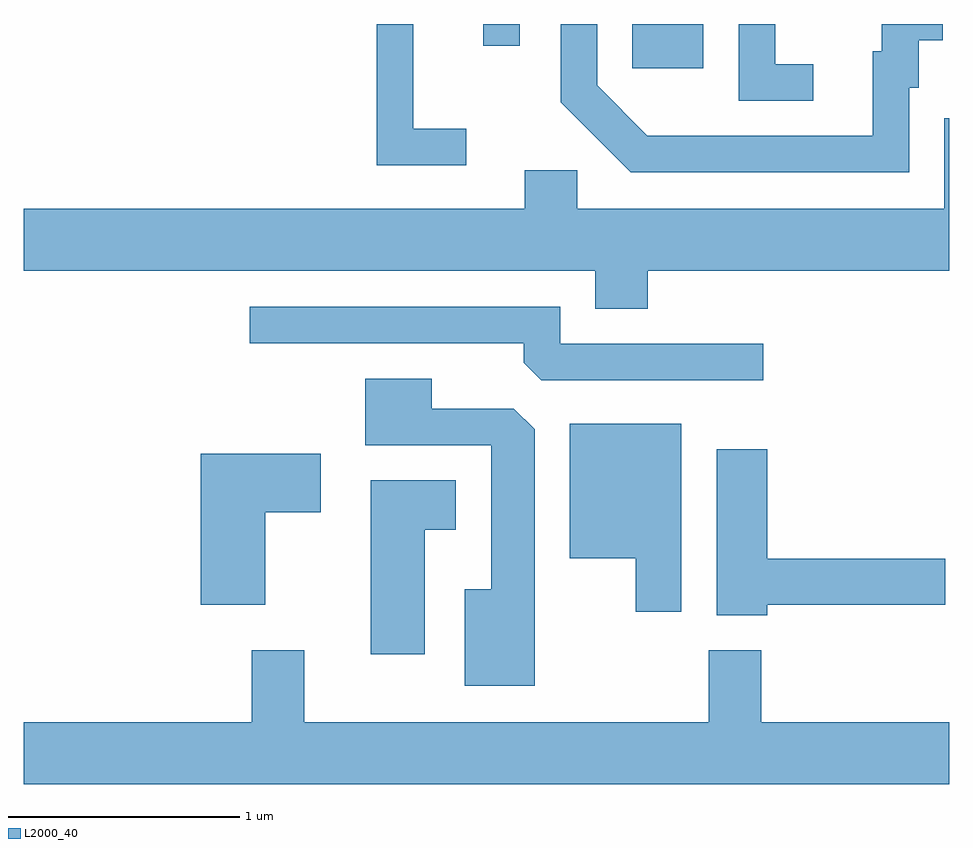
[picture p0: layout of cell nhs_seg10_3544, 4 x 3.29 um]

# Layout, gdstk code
import gdstk
lib = gdstk.Library(unit=1e-6, precision=1e-09)
def R(c, l, rs):  # rectangles x0, y0, x1, y1
    for r in rs: c.add(gdstk.rectangle(r[:2], r[2:], *l))
def P(c, l, *ps):  # polygons
    for p in ps: c.add(gdstk.Polygon(p, *l))
L2000_40 = (2000, 40)

nhs_seg10_3544 = lib.new_cell('nhs_seg10_3544')
R(nhs_seg10_3544, L2000_40, [(292.241,2130.331,292.549,2130.522), (291.596,2130.428,291.754,2130.522)])
P(nhs_seg10_3544, L2000_40, [(291.523,2130.069),(291.294,2130.069),(291.294,2130.522),(291.136,2130.522),(291.136,2129.911),(291.523,2129.911)],
  [(293.023,2130.349),(292.859,2130.349),(292.859,2130.522),(292.701,2130.522),(292.701,2130.191),(293.023,2130.191)],
  [(293.439,2130.246),(293.479,2130.246),(293.479,2130.451),(293.584,2130.451),(293.584,2130.522),(293.321,2130.522),(293.321,2130.404),(293.281,2130.404),(293.281,2130.039),(292.307,2130.039),(292.089,2130.257),(292.089,2130.522),(291.931,2130.522),(291.931,2130.184),(292.234,2129.881),(293.439,2129.881)],
  [(292.081,2129.291),(292.309,2129.291),(292.309,2129.456),(293.611,2129.456),(293.611,2130.114),(293.591,2130.114),(293.591,2129.724),(292.004,2129.724),(292.004,2129.889),(291.776,2129.889),(291.776,2129.724),(289.611,2129.724),(289.611,2129.456),(292.081,2129.456)],
  [(292.808,2129.139),(291.929,2129.139),(291.929,2129.299),(290.588,2129.299),(290.588,2129.141),(291.771,2129.141),(291.771,2129.057),(291.847,2128.981),(292.808,2128.981)],
  [(291.819,2128.769),(291.729,2128.859),(291.374,2128.859),(291.374,2128.989),(291.086,2128.989),(291.086,2128.701),(291.631,2128.701),(291.631,2128.079),(291.516,2128.079),(291.516,2127.661),(291.819,2127.661)],
  [(292.454,2128.794),(291.971,2128.794),(291.971,2128.211),(292.256,2128.211),(292.256,2127.981),(292.454,2127.981)],
  [(292.824,2128.011),(293.594,2128.011),(293.594,2128.209),(292.824,2128.209),(292.824,2128.684),(292.606,2128.684),(292.606,2127.966),(292.824,2127.966)],
  [(290.654,2128.411),(290.894,2128.411),(290.894,2128.664),(290.376,2128.664),(290.376,2128.011),(290.654,2128.011)],
  [(291.344,2128.336),(291.479,2128.336),(291.479,2128.549),(291.111,2128.549),(291.111,2127.796),(291.344,2127.796)],
  [(293.611,2127.504),(292.799,2127.504),(292.799,2127.814),(292.571,2127.814),(292.571,2127.504),(290.824,2127.504),(290.824,2127.814),(290.596,2127.814),(290.596,2127.504),(289.611,2127.504),(289.611,2127.236),(293.611,2127.236)])

lib.write_gds('nhs_seg10_3544.gds')
